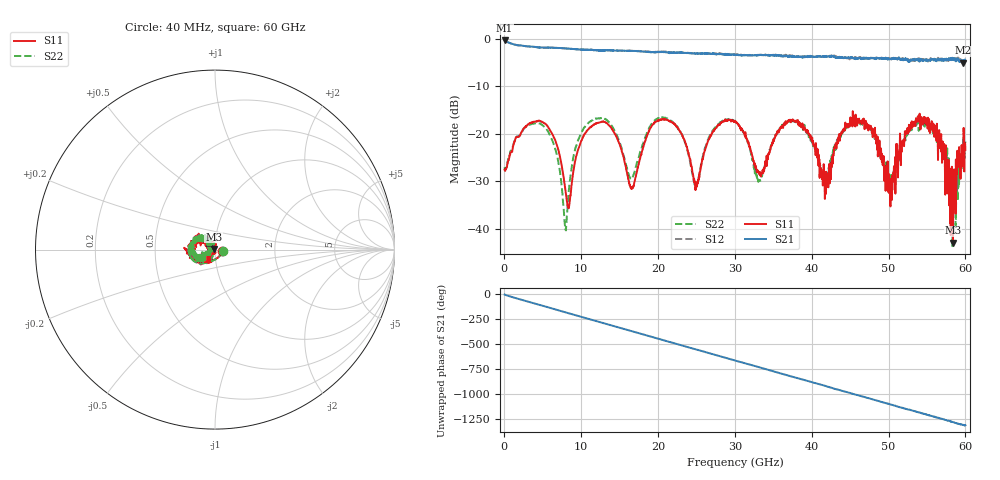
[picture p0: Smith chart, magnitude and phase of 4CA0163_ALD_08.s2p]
! File created by 'SoftPlot +Plus+ Measurement Management Software'
! SoftPlot +Plus+ Measurement Management Software
! Start 40.000000 MHz  Stop 60.000000 GHz  Points 1601
# MHZ S RI R 50
! S-Parameter data, F S11 S21 S12 S22
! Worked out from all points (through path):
!   1601 points, 40 MHz to 60 GHz, reference 50 ohm
!   highest |S21| = -0.41 dB at 40 MHz (marker M1); lowest = -5.1 dB at 59.66 GHz (marker M2)
!   group delay of S21, straight-line fit = 60.6 ps
!   lowest |S11| = -42.9 dB at 58.39 GHz (marker M3), VSWR 1.01, Z = 49.4 + j0.313 ohm
!   |S11| at or under -10 dB: start of sweep to end of sweep
!   |S22| runs from -43.7 to -16.5 dB; largest |S21 - S12| = 0.058
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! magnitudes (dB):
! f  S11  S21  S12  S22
! 40 MHz  -27.6  -0.4  -0.4  -27.1
! 5.099 GHz  -17.7  -1.9  -1.9  -18.4
! 7.985 GHz  -32.3  -2.1  -2.1  -40.0
! 10.05 GHz  -21.5  -2.4  -2.3  -19.8
! 13.49 GHz  -18.0  -2.5  -2.4  -17.4
! 16.6 GHz  -31.3  -2.6  -2.6  -29.5
! 20.05 GHz  -17.2  -2.9  -2.7  -16.8
! 24.92 GHz  -31.8  -3.2  -3.1  -31.0
! 27.02 GHz  -19.9  -3.3  -3.1  -19.7
! 30.02 GHz  -17.3  -3.4  -3.3  -17.4
! 33.17 GHz  -28.5  -3.5  -3.5  -29.8
! 36.54 GHz  -17.8  -3.6  -3.6  -17.8
! 40.03 GHz  -21.6  -3.8  -3.7  -21.8
! 41.9 GHz  -28.0  -3.8  -3.9  -28.8
! 44.19 GHz  -19.0  -4.1  -4.0  -19.3
! 46.88 GHz  -19.1  -4.1  -4.3  -18.0
! 50.03 GHz  -28.5  -4.2  -4.2  -28.7
! 53.82 GHz  -17.1  -4.7  -4.2  -16.9
! 57.04 GHz  -21.6  -4.5  -4.4  -22.1
! 58.39 GHz  -42.9  -4.3  -4.1  -39.0
! 59.66 GHz  -23.1  -5.1  -4.4  -26.0
! 60 GHz  -23.4  -4.8  -4.8  -21.7
